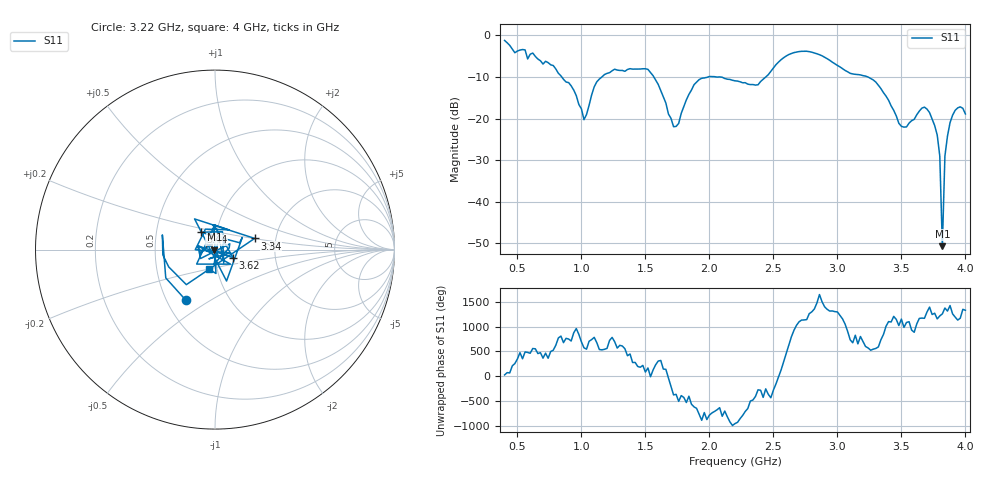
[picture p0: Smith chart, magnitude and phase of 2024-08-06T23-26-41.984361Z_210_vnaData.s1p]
!Created with skrf (http://scikit-rf.org).
# Hz S RI R 50.0
!freq ReS11 ImS11
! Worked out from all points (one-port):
!   181 points, 400 MHz to 4 GHz, reference 50 ohm
!   lowest |S11| = -50.7 dB at 3.82 GHz (marker M1), VSWR 1.01, Z = 49.7 + j0.00127 ohm
!   |S11| at or under -10 dB: 1.566 GHz to 1.987 GHz (420.7 MHz wide, 23.7 % of centre); 2.089 GHz to 2.44 GHz (351 MHz wide, 15.5 % of centre); 3.24 GHz to end of sweep (the widest 3 of 5)
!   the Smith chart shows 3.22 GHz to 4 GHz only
!   S11 on the Smith chart (normalised r, x): 3.22 GHz: 0.62, -0.39; 3.34 GHz: 1.55, +0.20; 3.44 GHz: 0.84, +0.16; 3.62 GHz: 1.22, -0.11; 4 GHz: 0.91, -0.20
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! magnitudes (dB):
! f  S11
! 400 MHz  -1.2
! 860 MHz  -10.5
! 940 MHz  -13.1
! 1.02 GHz  -20.2
! 1.12 GHz  -11.2
! 1.3 GHz  -8.4
! 1.52 GHz  -8.2
! 1.72 GHz  -21.9
! 1.76 GHz  -21.1
! 1.92 GHz  -10.6
! 2.2 GHz  -10.9
! 2.38 GHz  -11.8
! 2.66 GHz  -4.1
! 3.1 GHz  -9.1
! 3.22 GHz  -9.8
! 3.34 GHz  -12.8
! 3.44 GHz  -18.0
! 3.5 GHz  -21.9
! 3.56 GHz  -21.1
! 3.62 GHz  -19.1
! 3.7 GHz  -17.7
! 3.78 GHz  -24.0
! 3.8 GHz  -29.0
! 3.82 GHz  -50.7
! 3.84 GHz  -29.0
! 3.86 GHz  -24.2
! 3.92 GHz  -18.0
! 4 GHz  -18.9
